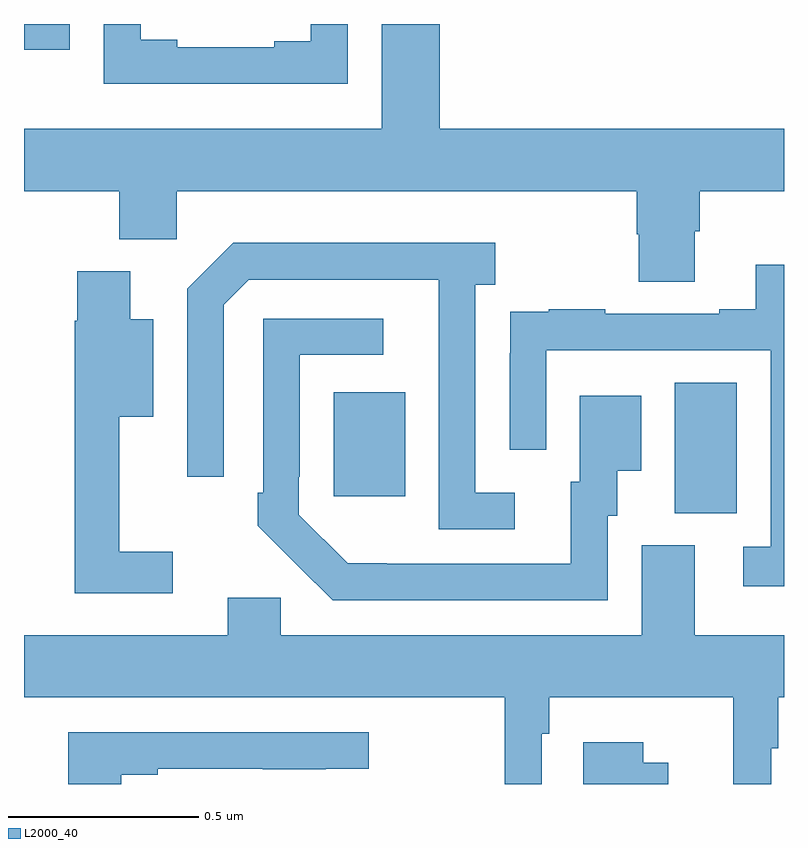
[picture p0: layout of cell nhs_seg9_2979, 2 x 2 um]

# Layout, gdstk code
import gdstk
lib = gdstk.Library(unit=1e-6, precision=1e-09)
def R(c, l, rs):  # rectangles x0, y0, x1, y1
    for r in rs: c.add(gdstk.rectangle(r[:2], r[2:], *l))
def P(c, l, *ps):  # polygons
    for p in ps: c.add(gdstk.Polygon(p, *l))
L2000_40 = (2000, 40)

nhs_seg9_2979 = lib.new_cell('nhs_seg9_2979')
R(nhs_seg9_2979, L2000_40, [(148.712,1222.213,148.876,1222.556), (147.815,1222.257,148.003,1222.531), (147,1223.432,147.12,1223.5)])
P(nhs_seg9_2979, L2000_40, [(147.852,1223.5),(147.755,1223.5),(147.755,1223.454),(147.659,1223.454),(147.659,1223.439),(147.403,1223.439),(147.403,1223.459),(147.307,1223.459),(147.307,1223.5),(147.21,1223.5),(147.21,1223.343),(147.852,1223.343)],
  [(148.765,1222.954),(148.778,1222.954),(148.778,1223.06),(149,1223.06),(149,1223.224),(148.094,1223.224),(148.094,1223.5),(147.941,1223.5),(147.941,1223.224),(147,1223.224),(147,1223.06),(147.251,1223.06),(147.251,1222.934),(147.402,1222.934),(147.402,1223.06),(148.613,1223.06),(148.613,1222.947),(148.618,1222.947),(148.618,1222.822),(148.765,1222.822)],
  [(148.291,1222.266),(148.188,1222.266),(148.188,1222.814),(148.24,1222.814),(148.24,1222.924),(147.55,1222.924),(147.429,1222.803),(147.429,1222.308),(147.525,1222.308),(147.525,1222.761),(147.591,1222.827),(148.091,1222.827),(148.091,1222.627),(148.092,1222.627),(148.092,1222.17),(148.291,1222.17)],
  [(149,1222.867),(148.925,1222.867),(148.925,1222.75),(148.829,1222.75),(148.829,1222.737),(148.529,1222.737),(148.529,1222.75),(148.381,1222.75),(148.381,1222.743),(148.279,1222.743),(148.279,1222.634),(148.278,1222.634),(148.278,1222.38),(148.374,1222.38),(148.374,1222.641),(148.965,1222.641),(148.965,1222.125),(148.893,1222.125),(148.893,1222.02),(149,1222.02)],
  [(147.391,1222.111),(147.251,1222.111),(147.251,1222.466),(147.34,1222.466),(147.34,1222.723),(147.28,1222.723),(147.28,1222.849),(147.14,1222.849),(147.14,1222.719),(147.133,1222.719),(147.133,1222.002),(147.391,1222.002)],
  [(148.536,1222.206),(148.561,1222.206),(148.561,1222.325),(148.624,1222.325),(148.624,1222.522),(148.463,1222.522),(148.463,1222.296),(148.439,1222.296),(148.439,1222.08),(147.955,1222.08),(147.955,1222.081),(147.852,1222.081),(147.723,1222.209),(147.723,1222.309),(147.726,1222.309),(147.726,1222.629),(147.946,1222.629),(147.946,1222.725),(147.63,1222.725),(147.63,1222.267),(147.615,1222.267),(147.615,1222.179),(147.72,1222.074),(147.721,1222.075),(147.812,1221.984),(148.536,1221.984)],
  [(148.362,1221.632),(148.382,1221.632),(148.382,1221.728),(148.867,1221.728),(148.867,1221.5),(148.966,1221.5),(148.966,1221.594),(148.985,1221.594),(148.985,1221.728),(149,1221.728),(149,1221.892),(148.765,1221.892),(148.765,1222.128),(148.625,1222.128),(148.625,1221.892),(147.675,1221.892),(147.675,1221.99),(147.536,1221.99),(147.536,1221.892),(147,1221.892),(147,1221.728),(148.265,1221.728),(148.265,1221.5),(148.362,1221.5)],
  [(147.256,1221.525),(147.352,1221.525),(147.352,1221.54),(147.628,1221.54),(147.628,1221.539),(147.794,1221.539),(147.794,1221.54),(147.907,1221.54),(147.907,1221.636),(147.116,1221.636),(147.116,1221.5),(147.256,1221.5)],
  [(148.696,1221.556),(148.63,1221.556),(148.63,1221.61),(148.472,1221.61),(148.472,1221.5),(148.696,1221.5)])

lib.write_gds('nhs_seg9_2979.gds')
